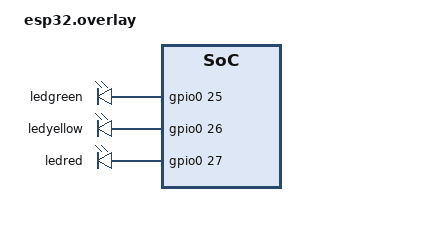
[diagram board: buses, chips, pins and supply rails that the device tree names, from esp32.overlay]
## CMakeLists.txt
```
# SPDX-License-Identifier: Apache-2.0

cmake_minimum_required(VERSION 3.20.0)

find_package(Zephyr REQUIRED HINTS $ENV{ZEPHYR_BASE})
project(shell_tutorial)

target_sources(app PRIVATE src/main.c)
```

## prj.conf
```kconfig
CONFIG_GPIO=y
CONFIG_SHELL=y
```

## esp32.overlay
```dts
/ {
	leds {
		compatible = "gpio-leds";
		ledgreen: led_g {
			gpios = <&gpio0 25 GPIO_ACTIVE_HIGH>;
		};
		ledyellow: led_y {
			gpios = <&gpio0 26 GPIO_ACTIVE_HIGH>;
		};
		ledred: led_r {
			gpios = <&gpio0 27 GPIO_ACTIVE_HIGH>;
		};
	};
};
```

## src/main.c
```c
#include <zephyr/drivers/gpio.h>
#include <zephyr/kernel.h>
#include <zephyr/shell/shell.h>

enum LED_STATE { LED_OFF, LED_ON, LED_BLINKING };

struct led {
  const struct gpio_dt_spec device;
  enum LED_STATE target_state;
};

static struct led led_green = {
    .device = GPIO_DT_SPEC_GET(DT_NODELABEL(ledgreen), gpios),
    .target_state = LED_OFF,
};

static struct led led_yellow = {
    .device = GPIO_DT_SPEC_GET(DT_NODELABEL(ledyellow), gpios),
    .target_state = LED_OFF,
};

static struct led led_red = {
    .device = GPIO_DT_SPEC_GET(DT_NODELABEL(ledred), gpios),
    .target_state = LED_OFF,
};

static void set_led_state(struct led* l) {
  switch (l->target_state) {
    case LED_OFF:
      gpio_pin_set_dt(&l->device, 0);
      break;
    case LED_ON:
      gpio_pin_set_dt(&l->device, 1);
      break;
    case LED_BLINKING:
      gpio_pin_toggle_dt(&l->device);
      break;
  }
}

void main(void) {
  // make sure the GPIO device is ready
  if (!device_is_ready(led_green.device.port)) {
    return;
  }

  gpio_pin_configure_dt(&led_green.device, GPIO_OUTPUT);
  gpio_pin_configure_dt(&led_yellow.device, GPIO_OUTPUT);
  gpio_pin_configure_dt(&led_red.device, GPIO_OUTPUT);

  while (1) {
    set_led_state(&led_green);
    set_led_state(&led_yellow);
    set_led_state(&led_red);
    k_sleep(K_MSEC(1000));
  }
}

static void set_led_state_by_color(enum LED_STATE state, char* led_color) {
  if (strcmp(led_color, "red") == 0) {
    led_red.target_state = state;
  } else if (strcmp(led_color, "yellow") == 0) {
    led_yellow.target_state = state;
  } else if (strcmp(led_color, "green") == 0) {
    led_green.target_state = state;
  }
}

// callback for the turn on subcommand
static int handle_turn_on(const struct shell* shell, size_t argc, char** argv) {
  for (int i = 1; i < argc; i++) {
    shell_print(shell, "Turning on %s LED.", argv[i]);
    set_led_state_by_color(LED_ON, argv[i]);
  }
  return 0;
}

// callback for the turn off subcommand
static int handle_turn_off(const struct shell* shell, size_t argc,
                           char** argv) {
  for (int i = 1; i < argc; i++) {
    shell_print(shell, "Turning off %s LED.", argv[i]);
    set_led_state_by_color(LED_OFF, argv[i]);
  }
  return 0;
}

// callback for the blink subcommand
static int handle_blink(const struct shell* shell, size_t argc, char** argv) {
  for (int i = 1; i < argc; i++) {
    shell_print(shell, "Blinking %s LED.", argv[i]);
    set_led_state_by_color(LED_BLINKING, argv[i]);
  }
  return 0;
}

// level 2 commands
SHELL_STATIC_SUBCMD_SET_CREATE(led_names,
                               SHELL_CMD(red, NULL, "Red LED.", NULL),
                               SHELL_CMD(yellow, NULL, "Yellow LED.", NULL),
                               SHELL_CMD(green, NULL, "Green LED.", NULL),
                               SHELL_SUBCMD_SET_END);

// level 1 commands
SHELL_STATIC_SUBCMD_SET_CREATE(
    led_actions,
    SHELL_CMD(turn_on, &led_names, "Turn the LED on.", handle_turn_on),
    SHELL_CMD(turn_off, &led_names, "Turn the LED off.", handle_turn_off),
    SHELL_CMD(blink, &led_names, "Make the LED blink.", handle_blink),
    SHELL_SUBCMD_SET_END);

// Root level 0 command
SHELL_CMD_REGISTER(led_ctrl, &led_actions, "Command to change LED states.",
                   NULL);
```
